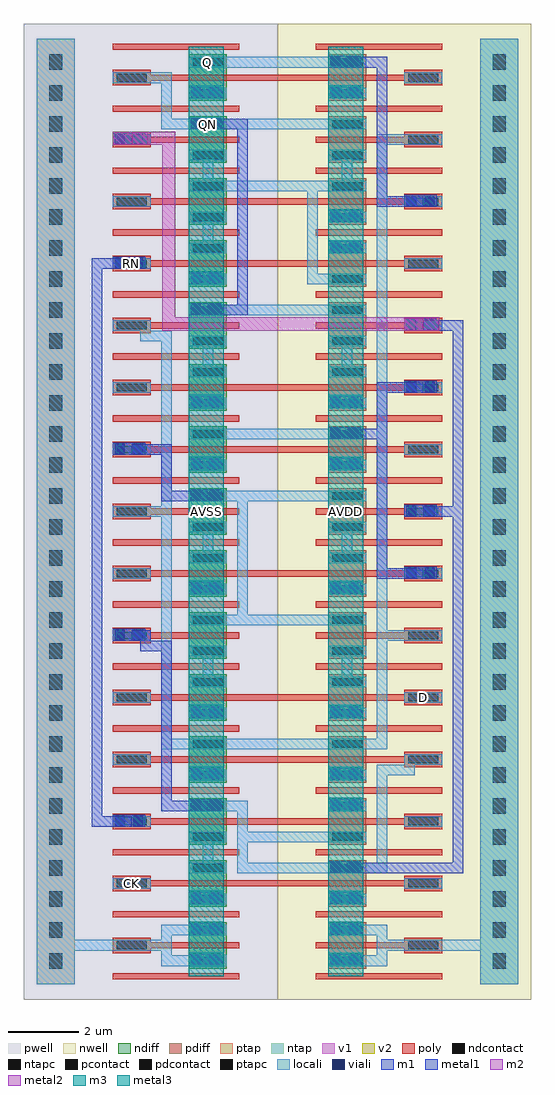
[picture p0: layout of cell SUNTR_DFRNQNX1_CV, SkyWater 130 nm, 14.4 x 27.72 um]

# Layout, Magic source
magic
tech sky130B
<< locali >>
rect 378 2581 486 2611
rect 216 2537 330 2567
rect 300 2435 330 2537
rect 300 2405 486 2435
rect 912 2361 1044 2391
rect 162 2009 270 2039
rect 216 1833 270 1863
rect 240 1803 330 1833
rect 300 1335 330 1803
rect 432 1349 546 1379
rect 216 1305 330 1335
rect 300 675 330 1305
rect 516 1027 546 1349
rect 432 997 546 1027
rect 912 983 942 2361
rect 912 953 1044 983
rect 912 675 942 953
rect 990 777 1098 807
rect 300 645 432 675
rect 828 645 942 675
rect 990 601 1044 631
rect 912 571 1020 601
rect 912 323 942 571
rect 828 293 942 323
rect 162 249 270 279
<< metal1 >>
rect 828 2581 942 2611
rect 432 2405 546 2435
rect 102 2009 216 2039
rect 102 455 132 2009
rect 516 1907 546 2405
rect 912 2215 942 2581
rect 912 2185 1044 2215
rect 432 1877 546 1907
rect 1044 1833 1158 1863
rect 912 1657 1044 1687
rect 912 1555 942 1657
rect 828 1525 942 1555
rect 216 1481 330 1511
rect 300 1379 330 1481
rect 300 1349 432 1379
rect 912 1159 942 1525
rect 1128 1335 1158 1833
rect 1044 1305 1158 1335
rect 912 1129 1044 1159
rect 216 953 270 983
rect 240 923 330 953
rect 300 499 330 923
rect 300 469 432 499
rect 102 425 216 455
rect 1128 323 1158 1305
rect 828 293 1158 323
<< metal2 >>
rect 216 2361 340 2399
rect 302 1871 340 2361
rect 302 1833 1044 1871
<< metal3 >>
rect 378 0 478 2640
rect 774 0 874 2640
use SUNTR_TAPCELLB_CV  XA0
transform 1 0 0 0 1 0
box -90 -66 1350 242
use SUNTR_NDX1_CV  XA1
transform 1 0 0 0 1 176
box -90 -66 1350 418
use SUNTR_IVX1_CV  XA2
transform 1 0 0 0 1 528
box -90 -66 1350 242
use SUNTR_IVTRIX1_CV  XA3
transform 1 0 0 0 1 704
box -90 -66 1350 418
use SUNTR_IVTRIX1_CV  XA4
transform 1 0 0 0 1 1056
box -90 -66 1350 418
use SUNTR_IVX1_CV  XA5
transform 1 0 0 0 1 1408
box -90 -66 1350 242
use SUNTR_IVTRIX1_CV  XA6
transform 1 0 0 0 1 1584
box -90 -66 1350 418
use SUNTR_NDTRIX1_CV  XA7
transform 1 0 0 0 1 1936
box -90 -66 1350 594
use SUNTR_IVX1_CV  XA8
transform 1 0 0 0 1 2464
box -90 -66 1350 242
use SUNTR_cut_M1M2_2x1  xcut0
transform 1 0 990 0 1 1305
box 0 0 92 34
use SUNTR_cut_M1M2_2x1  xcut1
transform 1 0 990 0 1 1833
box 0 0 92 34
use SUNTR_cut_M1M2_2x1  xcut2
transform 1 0 774 0 1 293
box 0 0 92 34
use SUNTR_cut_M1M2_2x1  xcut3
transform 1 0 162 0 1 953
box 0 0 92 34
use SUNTR_cut_M1M2_2x1  xcut4
transform 1 0 378 0 1 469
box 0 0 92 34
use SUNTR_cut_M1M3_2x1  xcut5
transform 1 0 162 0 1 2361
box 0 0 100 38
use SUNTR_cut_M1M3_2x1  xcut6
transform 1 0 990 0 1 1833
box 0 0 100 38
use SUNTR_cut_M1M2_2x1  xcut7
transform 1 0 378 0 1 1877
box 0 0 92 34
use SUNTR_cut_M1M2_2x1  xcut8
transform 1 0 378 0 1 2405
box 0 0 92 34
use SUNTR_cut_M1M2_2x1  xcut9
transform 1 0 162 0 1 1481
box 0 0 92 34
use SUNTR_cut_M1M2_2x1  xcut10
transform 1 0 378 0 1 1349
box 0 0 92 34
use SUNTR_cut_M1M2_2x1  xcut11
transform 1 0 774 0 1 1525
box 0 0 92 34
use SUNTR_cut_M1M2_2x1  xcut12
transform 1 0 990 0 1 1129
box 0 0 92 34
use SUNTR_cut_M1M2_2x1  xcut13
transform 1 0 990 0 1 1657
box 0 0 92 34
use SUNTR_cut_M1M2_2x1  xcut14
transform 1 0 774 0 1 2581
box 0 0 92 34
use SUNTR_cut_M1M2_2x1  xcut15
transform 1 0 990 0 1 2185
box 0 0 92 34
use SUNTR_cut_M1M2_2x1  xcut16
transform 1 0 162 0 1 425
box 0 0 92 34
use SUNTR_cut_M1M2_2x1  xcut17
transform 1 0 162 0 1 2009
box 0 0 92 34
<< labels >>
flabel locali s 990 777 1098 807 0 FreeSans 200 0 0 0 D
port 1 nsew signal bidirectional
flabel locali s 162 249 270 279 0 FreeSans 200 0 0 0 CK
port 2 nsew signal bidirectional
flabel locali s 378 2581 486 2611 0 FreeSans 200 0 0 0 Q
port 4 nsew signal bidirectional
flabel locali s 378 2405 486 2435 0 FreeSans 200 0 0 0 QN
port 5 nsew signal bidirectional
flabel metal3 s 774 0 874 2640 0 FreeSans 200 0 0 0 AVDD
port 6 nsew signal bidirectional
flabel metal3 s 378 0 478 2640 0 FreeSans 200 0 0 0 AVSS
port 7 nsew signal bidirectional
flabel locali s 162 2009 270 2039 0 FreeSans 200 0 0 0 RN
port 3 nsew signal bidirectional
<< properties >>
string FIXED_BBOX 0 0 1260 2640
<< end >>

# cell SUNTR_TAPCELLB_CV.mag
magic
tech sky130B
<< locali >>
rect 300 117 432 147
rect 828 117 942 147
rect 300 103 330 117
rect -54 73 330 103
rect 300 59 330 73
rect 912 103 942 117
rect 912 73 1314 103
rect 912 59 942 73
rect 300 29 432 59
rect 828 29 942 59
<< metal3 >>
rect 378 0 478 176
rect 774 0 874 176
use SUNTR_NCHDL  MN1
transform 1 0 0 0 1 0
box -90 -66 630 242
use SUNTR_PCHDL  MP1
transform 1 0 630 0 1 0
box 0 -66 720 242
use SUNTR_cut_M1M4_2x1  xcut0
transform 1 0 774 0 1 117
box 0 0 100 38
use SUNTR_cut_M1M4_2x1  xcut1
transform 1 0 774 0 1 29
box 0 0 100 38
use SUNTR_cut_M1M4_2x1  xcut2
transform 1 0 378 0 1 117
box 0 0 100 38
use SUNTR_cut_M1M4_2x1  xcut3
transform 1 0 378 0 1 29
box 0 0 100 38
<< labels >>
flabel metal3 s 774 0 874 176 0 FreeSans 200 0 0 0 AVDD
port 1 nsew signal bidirectional
flabel metal3 s 378 0 478 176 0 FreeSans 200 0 0 0 AVSS
port 2 nsew signal bidirectional
<< properties >>
string FIXED_BBOX 0 0 1260 176
<< end >>

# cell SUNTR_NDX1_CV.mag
magic
tech sky130B
<< poly >>
rect 162 255 1098 273
rect 162 79 1098 97
<< locali >>
rect 378 293 546 323
rect 162 249 270 279
rect 516 235 546 293
rect 417 117 447 235
rect 516 205 828 235
rect 516 147 546 205
rect 516 117 828 147
rect 162 73 270 103
<< metal3 >>
rect 378 0 478 352
rect 774 0 874 352
use SUNTR_NCHDL  MN0
transform 1 0 0 0 1 0
box -90 -66 630 242
use SUNTR_NCHDL  MN1
transform 1 0 0 0 1 176
box -90 -66 630 242
use SUNTR_PCHDL  MP0
transform 1 0 630 0 1 0
box 0 -66 720 242
use SUNTR_PCHDL  MP1
transform 1 0 630 0 1 176
box 0 -66 720 242
use SUNTR_cut_M1M4_2x1  xcut0
transform 1 0 774 0 1 29
box 0 0 100 38
use SUNTR_cut_M1M4_2x1  xcut1
transform 1 0 774 0 1 293
box 0 0 100 38
use SUNTR_cut_M1M4_2x1  xcut2
transform 1 0 378 0 1 29
box 0 0 100 38
<< labels >>
flabel locali s 162 73 270 103 0 FreeSans 200 0 0 0 A
port 1 nsew signal bidirectional
flabel locali s 162 249 270 279 0 FreeSans 200 0 0 0 B
port 2 nsew signal bidirectional
flabel locali s 378 293 486 323 0 FreeSans 200 0 0 0 Y
port 3 nsew signal bidirectional
flabel metal3 s 774 0 874 352 0 FreeSans 200 0 0 0 AVDD
port 4 nsew signal bidirectional
flabel metal3 s 378 0 478 352 0 FreeSans 200 0 0 0 AVSS
port 5 nsew signal bidirectional
<< properties >>
string FIXED_BBOX 0 0 1260 352
<< end >>

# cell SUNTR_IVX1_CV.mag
magic
tech sky130B
<< poly >>
rect 162 79 1098 97
<< locali >>
rect 378 117 828 147
rect 162 73 270 103
<< metal3 >>
rect 378 0 478 176
rect 774 0 874 176
use SUNTR_NCHDL  MN0
transform 1 0 0 0 1 0
box -90 -66 630 242
use SUNTR_PCHDL  MP0
transform 1 0 630 0 1 0
box 0 -66 720 242
use SUNTR_cut_M1M4_2x1  xcut0
transform 1 0 774 0 1 29
box 0 0 100 38
use SUNTR_cut_M1M4_2x1  xcut1
transform 1 0 378 0 1 29
box 0 0 100 38
<< labels >>
flabel locali s 162 73 270 103 0 FreeSans 200 0 0 0 A
port 1 nsew signal bidirectional
flabel locali s 378 117 486 147 0 FreeSans 200 0 0 0 Y
port 2 nsew signal bidirectional
flabel metal3 s 774 0 874 176 0 FreeSans 200 0 0 0 AVDD
port 3 nsew signal bidirectional
flabel metal3 s 378 0 478 176 0 FreeSans 200 0 0 0 AVSS
port 4 nsew signal bidirectional
<< properties >>
string FIXED_BBOX 0 0 1260 176
<< end >>

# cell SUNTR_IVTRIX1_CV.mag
magic
tech sky130B
<< poly >>
rect 162 79 1098 97
<< locali >>
rect 378 293 828 323
rect 162 249 270 279
rect 990 249 1098 279
rect 417 117 447 235
rect 813 117 843 235
rect 162 73 270 103
<< metal3 >>
rect 378 0 478 352
rect 774 0 874 352
use SUNTR_NCHDL  MN0
transform 1 0 0 0 1 0
box -90 -66 630 242
use SUNTR_NCHDL  MN1
transform 1 0 0 0 1 176
box -90 -66 630 242
use SUNTR_PCHDL  MP0
transform 1 0 630 0 1 0
box 0 -66 720 242
use SUNTR_PCHDL  MP1
transform 1 0 630 0 1 176
box 0 -66 720 242
use SUNTR_cut_M1M4_2x1  xcut0
transform 1 0 774 0 1 29
box 0 0 100 38
use SUNTR_cut_M1M4_2x1  xcut1
transform 1 0 378 0 1 29
box 0 0 100 38
<< labels >>
flabel locali s 162 73 270 103 0 FreeSans 200 0 0 0 A
port 1 nsew signal bidirectional
flabel locali s 990 249 1098 279 0 FreeSans 200 0 0 0 CN
port 3 nsew signal bidirectional
flabel locali s 162 249 270 279 0 FreeSans 200 0 0 0 C
port 2 nsew signal bidirectional
flabel locali s 378 293 486 323 0 FreeSans 200 0 0 0 Y
port 4 nsew signal bidirectional
flabel metal3 s 774 0 874 352 0 FreeSans 200 0 0 0 AVDD
port 5 nsew signal bidirectional
flabel metal3 s 378 0 478 352 0 FreeSans 200 0 0 0 AVSS
port 6 nsew signal bidirectional
<< properties >>
string FIXED_BBOX 0 0 1260 352
<< end >>

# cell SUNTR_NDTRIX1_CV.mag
magic
tech sky130B
<< poly >>
rect 162 255 1098 273
rect 162 79 1098 97
<< locali >>
rect 378 469 828 499
rect 162 425 270 455
rect 990 425 1098 455
rect 417 323 447 411
rect 813 323 843 411
rect 378 293 882 323
rect 162 249 270 279
rect 417 117 447 235
rect 162 73 270 103
rect 714 59 744 293
rect 714 29 828 59
<< metal3 >>
rect 378 0 478 528
rect 774 0 874 528
use SUNTR_NCHDL  MN0
transform 1 0 0 0 1 176
box -90 -66 630 242
use SUNTR_NCHDL  MN1
transform 1 0 0 0 1 352
box -90 -66 630 242
use SUNTR_NCHDL  MN2
transform 1 0 0 0 1 0
box -90 -66 630 242
use SUNTR_PCHDL  MP0
transform 1 0 630 0 1 176
box 0 -66 720 242
use SUNTR_PCHDL  MP1
transform 1 0 630 0 1 352
box 0 -66 720 242
use SUNTR_PCHDL  MP2
transform 1 0 630 0 1 0
box 0 -66 720 242
use SUNTR_cut_M1M4_2x1  xcut0
transform 1 0 774 0 1 117
box 0 0 100 38
use SUNTR_cut_M1M4_2x1  xcut1
transform 1 0 774 0 1 205
box 0 0 100 38
use SUNTR_cut_M1M4_2x1  xcut2
transform 1 0 378 0 1 29
box 0 0 100 38
<< labels >>
flabel locali s 162 249 270 279 0 FreeSans 200 0 0 0 A
port 1 nsew signal bidirectional
flabel locali s 990 425 1098 455 0 FreeSans 200 0 0 0 CN
port 3 nsew signal bidirectional
flabel locali s 162 425 270 455 0 FreeSans 200 0 0 0 C
port 2 nsew signal bidirectional
flabel locali s 162 73 270 103 0 FreeSans 200 0 0 0 RN
port 4 nsew signal bidirectional
flabel locali s 378 469 486 499 0 FreeSans 200 0 0 0 Y
port 5 nsew signal bidirectional
flabel metal3 s 774 0 874 528 0 FreeSans 200 0 0 0 AVDD
port 6 nsew signal bidirectional
flabel metal3 s 378 0 478 528 0 FreeSans 200 0 0 0 AVSS
port 7 nsew signal bidirectional
<< properties >>
string FIXED_BBOX 0 0 1260 528
<< end >>

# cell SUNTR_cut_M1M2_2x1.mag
magic
tech sky130B
magscale 1 2
<< locali >>
rect 0 0 184 68
<< viali >>
rect 12 6 68 62
rect 116 6 172 62
<< m1 >>
rect 0 0 184 68
<< labels >>
<< properties >>
string FIXED_BBOX 0 0 184 68
<< end >>

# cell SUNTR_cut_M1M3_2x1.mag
magic
tech sky130B
magscale 1 2
<< locali >>
rect 0 0 184 68
<< viali >>
rect 12 6 68 62
rect 116 6 172 62
<< m1 >>
rect 0 0 184 68
<< v1 >>
rect 12 6 68 62
rect 116 6 172 62
<< m2 >>
rect 0 0 200 76
<< labels >>
<< properties >>
string FIXED_BBOX 0 0 200 76
<< end >>

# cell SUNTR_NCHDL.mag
magic
tech sky130B
magscale 1 2
<< ndiff >>
rect 756 44 972 132
rect 756 132 972 220
rect 756 220 972 308
<< ptap >>
rect -108 -44 108 44
rect -108 44 108 132
rect -108 132 108 220
rect -108 220 108 308
rect -108 308 108 396
<< poly >>
rect 324 -18 1044 18
rect 324 158 1044 194
rect 324 334 1044 370
rect 324 132 540 220
<< locali >>
rect 324 146 540 206
rect -108 -44 108 44
rect -108 44 108 132
rect 756 58 972 118
rect 756 58 972 118
rect -108 132 108 220
rect -108 132 108 220
rect 324 146 540 206
rect -108 220 108 308
rect 756 234 972 294
rect 756 234 972 294
rect -108 308 108 396
<< pcontact >>
rect 348 154 396 176
rect 348 176 396 198
rect 396 154 468 176
rect 396 176 468 198
rect 468 154 516 176
rect 468 176 516 198
<< ptapc >>
rect -36 44 36 132
rect -36 220 36 308
<< ndcontact >>
rect 780 66 828 88
rect 780 88 828 110
rect 828 66 900 88
rect 828 88 900 110
rect 900 66 948 88
rect 900 88 948 110
rect 780 242 828 264
rect 780 264 828 286
rect 828 242 900 264
rect 828 264 900 286
rect 900 242 948 264
rect 900 264 948 286
<< pwell >>
rect -180 -132 1260 484
<< labels >>
flabel locali s 324 146 540 206 0 FreeSans 400 0 0 0 G
port 2 nsew signal bidirectional
flabel locali s 756 58 972 118 0 FreeSans 400 0 0 0 S
port 3 nsew signal bidirectional
flabel locali s -108 132 108 220 0 FreeSans 400 0 0 0 B
port 4 nsew signal bidirectional
flabel locali s 756 234 972 294 0 FreeSans 400 0 0 0 D
port 1 nsew signal bidirectional
<< properties >>
string FIXED_BBOX 0 0 1260 352
<< end >>

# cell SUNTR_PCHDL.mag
magic
tech sky130B
magscale 1 2
<< pdiff >>
rect 288 44 504 132
rect 288 132 504 220
rect 288 220 504 308
<< ntap >>
rect 1152 -44 1368 44
rect 1152 44 1368 132
rect 1152 132 1368 220
rect 1152 220 1368 308
rect 1152 308 1368 396
<< poly >>
rect 216 -18 936 18
rect 216 158 936 194
rect 216 334 936 370
rect 720 132 936 220
<< locali >>
rect 720 146 936 206
rect 1152 -44 1368 44
rect 288 58 504 118
rect 288 58 504 118
rect 1152 44 1368 132
rect 720 146 936 206
rect 1152 132 1368 220
rect 1152 132 1368 220
rect 288 234 504 294
rect 288 234 504 294
rect 1152 220 1368 308
rect 1152 308 1368 396
<< pcontact >>
rect 744 154 792 176
rect 744 176 792 198
rect 792 154 864 176
rect 792 176 864 198
rect 864 154 912 176
rect 864 176 912 198
<< ntapc >>
rect 1224 44 1296 132
rect 1224 220 1296 308
<< pdcontact >>
rect 312 66 360 88
rect 312 88 360 110
rect 360 66 432 88
rect 360 88 432 110
rect 432 66 480 88
rect 432 88 480 110
rect 312 242 360 264
rect 312 264 360 286
rect 360 242 432 264
rect 360 264 432 286
rect 432 242 480 264
rect 432 264 480 286
<< nwell >>
rect 0 -132 1440 484
<< labels >>
flabel locali s 720 146 936 206 0 FreeSans 400 0 0 0 G
port 2 nsew signal bidirectional
flabel locali s 288 58 504 118 0 FreeSans 400 0 0 0 S
port 3 nsew signal bidirectional
flabel locali s 1152 132 1368 220 0 FreeSans 400 0 0 0 B
port 4 nsew signal bidirectional
flabel locali s 288 234 504 294 0 FreeSans 400 0 0 0 D
port 1 nsew signal bidirectional
<< properties >>
string FIXED_BBOX 0 0 1260 352
<< end >>

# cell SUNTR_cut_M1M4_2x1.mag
magic
tech sky130B
magscale 1 2
<< locali >>
rect 0 0 184 68
<< viali >>
rect 12 6 68 62
rect 116 6 172 62
<< m1 >>
rect 0 0 184 68
<< v1 >>
rect 12 6 68 62
rect 116 6 172 62
<< m2 >>
rect 0 0 200 76
<< v2 >>
rect 12 6 76 70
rect 124 6 188 70
<< m3 >>
rect 0 0 200 76
<< labels >>
<< properties >>
string FIXED_BBOX 0 0 200 76
<< end >>
